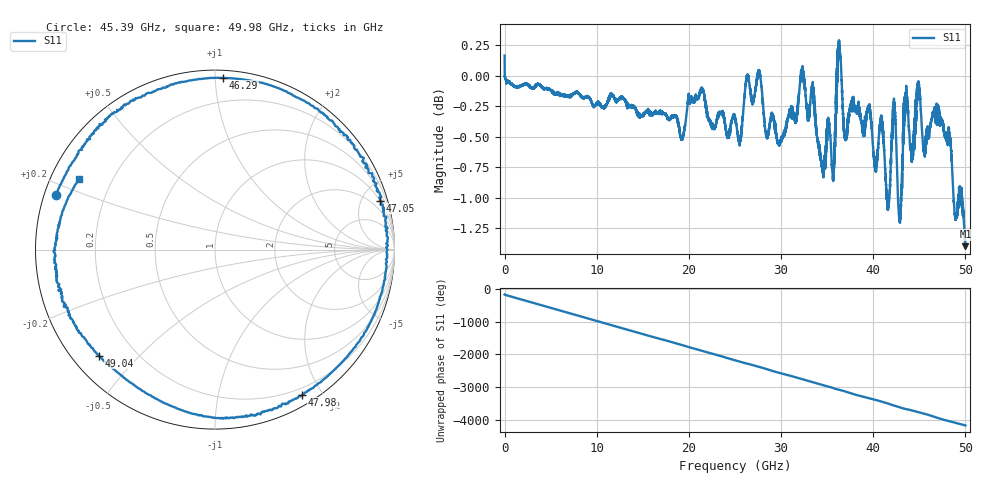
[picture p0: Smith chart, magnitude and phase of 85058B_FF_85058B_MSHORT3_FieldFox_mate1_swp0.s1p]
!Created with skrf (http://scikit-rf.org).
# Hz S RI R 50.0
!freq ReS11 ImS11
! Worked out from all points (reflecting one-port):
!   10001 points, 300 kHz to 50 GHz, reference 50 ohm
!   lowest |S11| = -1.4 dB at 50 GHz (marker M1), VSWR 12.48, Z = 4.27 + j12.8 ohm
!   phase of S11 starts at -175 deg and turns -3994 deg over the sweep
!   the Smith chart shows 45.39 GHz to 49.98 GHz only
!   S11 on the Smith chart (normalised r, x): 45.39 GHz: 0.03, +0.17; 46.29 GHz: 0.05, +1.05; 47.05 GHz: 1.01, +6.72; 47.98 GHz: 0.12, -1.76; 49.04 GHz: 0.08, -0.39; 49.98 GHz: 0.08, +0.24
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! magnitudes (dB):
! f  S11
! 300 kHz  0.2
! 6.25 GHz  -0.2
! 12.5 GHz  -0.2
! 18.75 GHz  -0.4
! 25 GHz  -0.3
! 27.58 GHz  0.0
! 28.46 GHz  -0.5
! 31.25 GHz  -0.3
! 32.35 GHz  0.0
! 34.57 GHz  -0.8
! 35.68 GHz  -0.8
! 36.3 GHz  0.2
! 36.93 GHz  -0.5
! 37.5 GHz  -0.3
! 39.54 GHz  -0.3
! 40.24 GHz  -0.8
! 40.9 GHz  -0.4
! 41.6 GHz  -1.0
! 42.26 GHz  -0.3
! 42.87 GHz  -1.2
! 43.75 GHz  -0.3
! 45.39 GHz  -0.6
! 46.29 GHz  -0.4
! 47.05 GHz  -0.4
! 47.98 GHz  -0.5
! 49.04 GHz  -1.1
! 49.98 GHz  -1.4
! 50 GHz  -1.4
